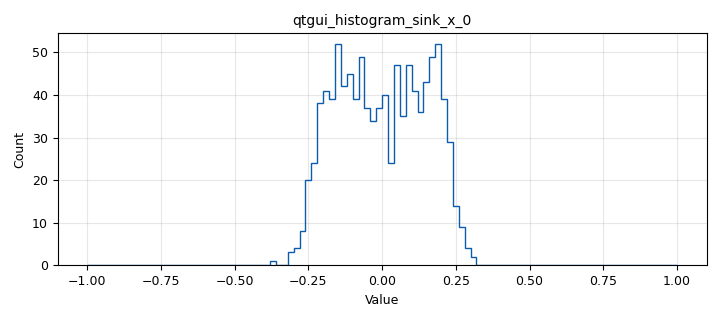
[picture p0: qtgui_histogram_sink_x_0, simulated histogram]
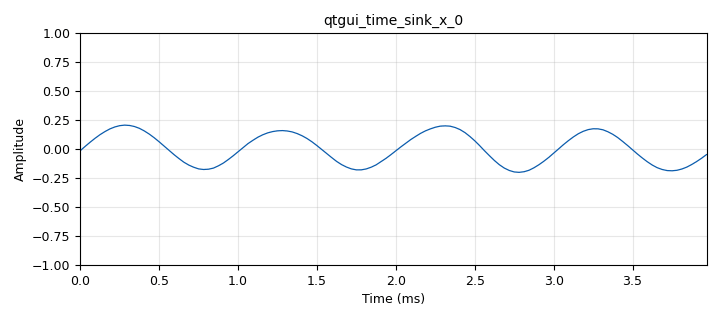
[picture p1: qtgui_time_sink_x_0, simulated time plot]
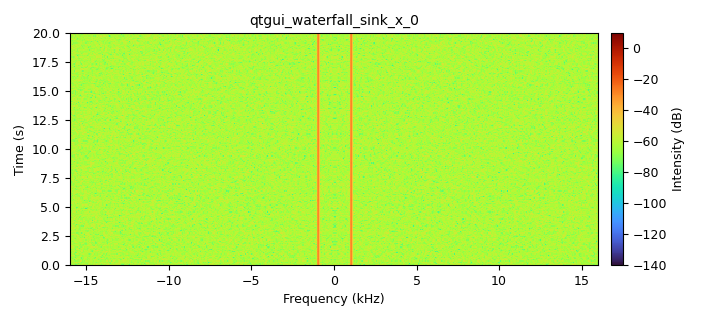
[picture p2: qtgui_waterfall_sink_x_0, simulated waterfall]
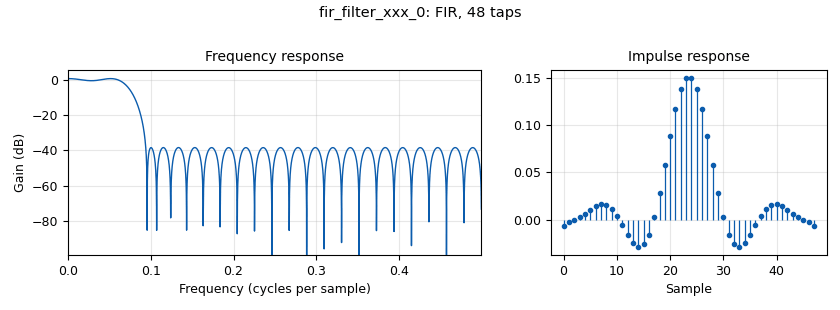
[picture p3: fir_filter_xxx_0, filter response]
options:
  parameters:
    generate_options: qt_gui
    id: top_block
    output_language: python
  states: {}

blocks:
- name: samp_rate
  id: variable
  parameters:
    value: '32000'
  states: {}
- name: analog_noise_source_x_0
  id: analog_noise_source_x
  parameters:
    amp: '0.05'
    noise_type: analog.GR_GAUSSIAN
    seed: '0'
    type: float
  states: {}
- name: analog_sig_source_x_0
  id: analog_sig_source_x
  parameters:
    amp: '0.2'
    freq: '1000'
    offset: '0'
    phase: '0'
    samp_rate: samp_rate
    type: float
    waveform: analog.GR_SIN_WAVE
  states: {}
- name: audio_sink_0
  id: audio_sink
  parameters:
    samp_rate: samp_rate
  states: {}
- name: blocks_add_xx_0
  id: blocks_add_xx
  parameters:
    type: float
  states: {}
- name: fir_filter_xxx_0
  id: fir_filter_xxx
  parameters:
    decim: '1'
    taps: '[-0.007190908588650507, -0.0020956294130478246, -0.0005862434725816687, 0.0023007597162747104, 0.006251409851698675, 0.010559989539721966, 0.014212198191549834, 0.016076407425248143, 0.015171952688252324, 0.010948303626372472, 0.0035240162336882546, -0.006147719466804525, -0.01631321865093616, -0.024691056625499423, -0.028757329240203803, -0.026322961664496585, -0.01596676756150106, 0.0025403932631443745, 0.0280466243927692, 0.05806930847230448, 0.08910269204706635, 0.11715248111979963, 0.13840174963459598, 0.1498480883344221, 0.1498480883344221, 0.13840174963459598, 0.11715248111979963, 0.08910269204706635, 0.05806930847230448, 0.0280466243927692, 0.0025403932631443745, -0.01596676756150106, -0.026322961664496585, -0.028757329240203803, -0.024691056625499423, -0.01631321865093616, -0.006147719466804525, 0.0035240162336882546, 0.010948303626372472, 0.015171952688252324, 0.016076407425248143, 0.014212198191549834, 0.010559989539721966, 0.006251409851698675, 0.0023007597162747104, -0.0005862434725816687, -0.0020956294130478246, -0.007190908588650507]'
    type: fff
  states: {}
- name: qtgui_histogram_sink_x_0
  id: qtgui_histogram_sink_x
  parameters:
    bins: '100'
    size: '1024'
    type: float
    update_time: '1'
    xmax: '1'
    xmin: '-1'
  states: {}
- name: qtgui_time_sink_x_0
  id: qtgui_time_sink_x
  parameters:
    label1: ''
    size: '128'
    srate: samp_rate
    tr_mode: qtgui.TRIG_MODE_NORM
    type: float
    update_time: '0.05'
  states: {}
- name: qtgui_waterfall_sink_x_0
  id: qtgui_waterfall_sink_x
  parameters:
    bw: samp_rate
    fc: '0'
    fftsize: '1024'
    showports: 'True'
    type: float
  states: {}

connections:
- [analog_noise_source_x_0, '0', blocks_add_xx_0, '0']
- [analog_sig_source_x_0, '0', blocks_add_xx_0, '1']
- [blocks_add_xx_0, '0', fir_filter_xxx_0, '0']
- [blocks_add_xx_0, '0', qtgui_histogram_sink_x_0, '0']
- [blocks_add_xx_0, '0', qtgui_waterfall_sink_x_0, '0']
- [fir_filter_xxx_0, '0', audio_sink_0, '0']
- [fir_filter_xxx_0, '0', qtgui_time_sink_x_0, '0']

metadata:
  file_format: 1
  grc_version: 3.10.12.0
